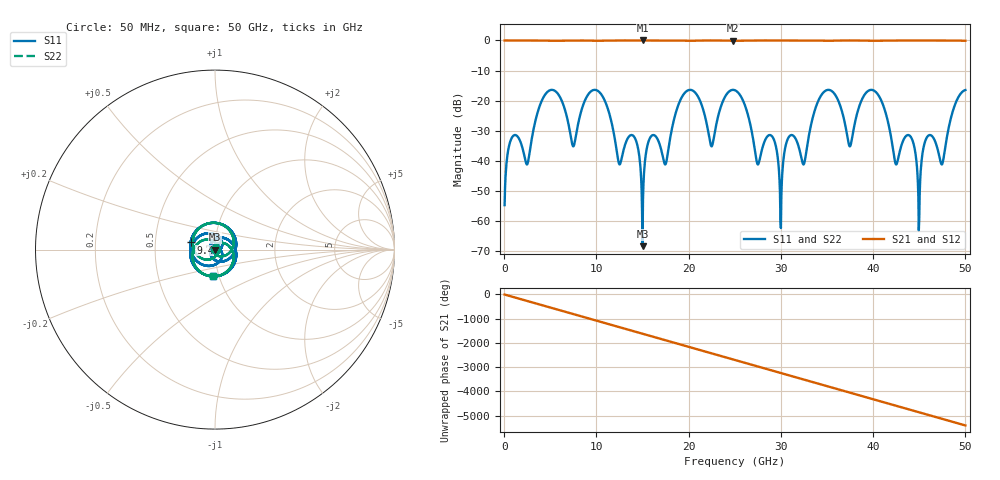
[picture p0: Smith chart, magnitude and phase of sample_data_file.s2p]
# GHZ S MA R 50.00000
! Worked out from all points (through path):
!   1000 points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, 50 MHz to 50 GHz, reference 50 ohm
!   highest |S21| = 0.00 dB at 15 GHz (marker M1); lowest = -0.1 dB at 24.8 GHz (marker M2)
!   group delay of S21, straight-line fit = 300 ps
!   lowest |S11| = -68.5 dB at 15 GHz (marker M3), VSWR 1.00, Z = 50 + j0.0377 ohm
!   |S11| at or under -10 dB: start of sweep to end of sweep
!   |S22| runs from -68.5 to -16.4 dB; largest |S21 - S12| = 0
!   S11 on the Smith chart (normalised r, x): 50 MHz: 1.00, +0.00; 9.4 GHz: 0.76, +0.06; 50 GHz: 0.94, -0.29
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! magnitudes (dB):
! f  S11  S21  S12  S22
! 50 MHz  -54.8  0.0  0.0  -54.8
! 800 MHz  -32.6  0.0  0.0  -32.6
! 2.5 GHz  -41.2  0.0  0.0  -41.2
! 4.65 GHz  -17.2  -0.1  -0.1  -17.2
! 7.45 GHz  -35.1  0.0  0.0  -35.1
! 8.4 GHz  -23.0  0.0  0.0  -23.0
! 9.4 GHz  -17.0  -0.1  -0.1  -17.0
! 14.15 GHz  -32.3  0.0  0.0  -32.3
! 15 GHz  -68.5  0.0  0.0  -68.5
! 16.7 GHz  -33.3  0.0  0.0  -33.3
! 20.15 GHz  -16.4  -0.1  -0.1  -16.4
! 22.5 GHz  -35.3  0.0  0.0  -35.3
! 24.8 GHz  -16.4  -0.1  -0.1  -16.4
! 25.05 GHz  -16.6  -0.1  -0.1  -16.6
! 29.95 GHz  -59.5  0.0  0.0  -59.5
! 33.35 GHz  -27.0  0.0  0.0  -27.0
! 35.4 GHz  -16.6  -0.1  -0.1  -16.6
! 37.5 GHz  -35.2  0.0  0.0  -35.2
! 39.85 GHz  -16.5  -0.1  -0.1  -16.5
! 41.7 GHz  -28.3  0.0  0.0  -28.3
! 45 GHz  -58.9  0.0  0.0  -58.9
! 50 GHz  -16.5  -0.1  -0.1  -16.5
